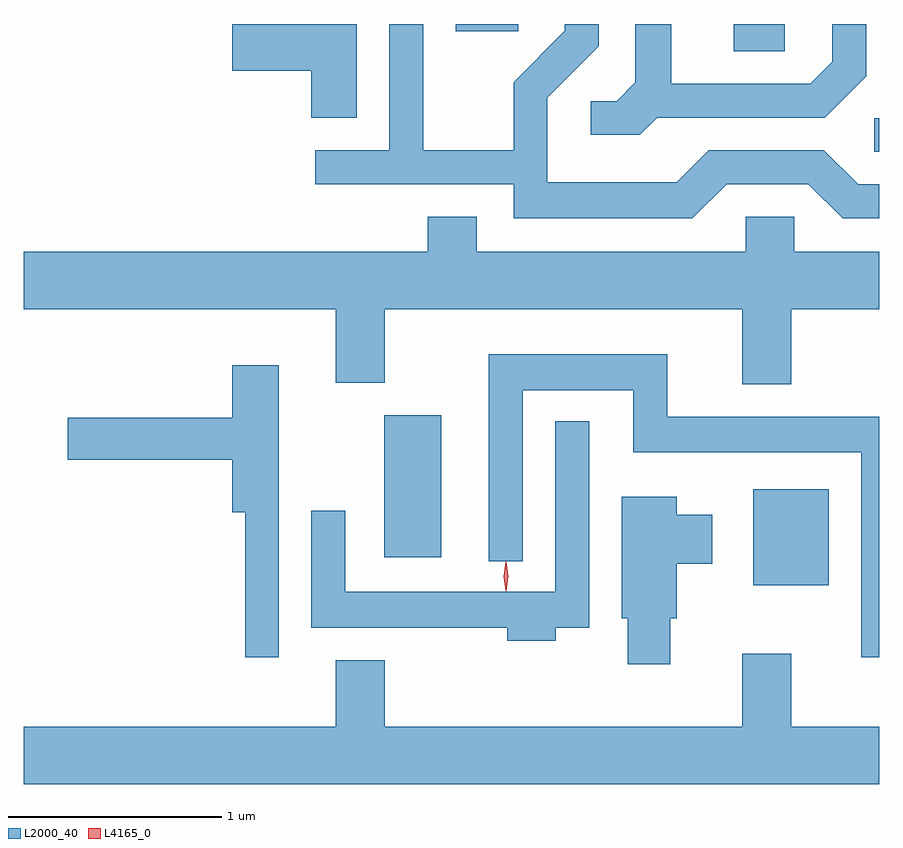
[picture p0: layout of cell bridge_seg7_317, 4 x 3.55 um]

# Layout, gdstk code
import gdstk
lib = gdstk.Library(unit=1e-6, precision=1e-09)
def R(c, l, rs):  # rectangles x0, y0, x1, y1
    for r in rs: c.add(gdstk.rectangle(r[:2], r[2:], *l))
def P(c, l, *ps):  # polygons
    for p in ps: c.add(gdstk.Polygon(p, *l))
L2000_40 = (2000, 40)
L4165_0 = (4165, 0)

bridge_seg7_317 = lib.new_cell('bridge_seg7_317')
R(bridge_seg7_317, L2000_40, [(1197.861,1761.866,1198.214,1762.314), (1196.136,1761.996,1196.404,1762.659), (1198.428,1763.891,1198.451,1764.049), (1197.771,1764.361,1198.009,1764.489), (1196.471,1764.456,1196.764,1764.489)])
P(bridge_seg7_317, L2000_40, [(1197.737,1763.741),(1198.119,1763.741),(1198.279,1763.581),(1198.451,1763.581),(1198.451,1763.739),(1198.352,1763.739),(1198.192,1763.899),(1197.654,1763.899),(1197.504,1763.749),(1196.899,1763.749),(1196.899,1764.144),(1197.139,1764.384),(1197.139,1764.489),(1196.981,1764.489),(1196.981,1764.457),(1196.741,1764.217),(1196.741,1763.899),(1196.319,1763.899),(1196.319,1764.489),(1196.161,1764.489),(1196.161,1763.899),(1195.813,1763.899),(1195.813,1763.741),(1196.741,1763.741),(1196.741,1763.581),(1197.577,1763.581)],
  [(1196.009,1764.489),(1195.426,1764.489),(1195.426,1764.271),(1195.796,1764.271),(1195.796,1764.051),(1196.009,1764.051)],
  [(1197.412,1764.051),(1198.197,1764.051),(1198.389,1764.244),(1198.389,1764.489),(1198.231,1764.489),(1198.231,1764.312),(1198.129,1764.209),(1197.479,1764.209),(1197.479,1764.489),(1197.311,1764.489),(1197.311,1764.217),(1197.224,1764.129),(1197.103,1764.129),(1197.103,1763.971),(1197.332,1763.971)],
  [(1198.039,1763.156),(1198.451,1763.156),(1198.451,1763.424),(1198.054,1763.424),(1198.054,1763.589),(1197.826,1763.589),(1197.826,1763.424),(1196.569,1763.424),(1196.569,1763.589),(1196.341,1763.589),(1196.341,1763.424),(1194.451,1763.424),(1194.451,1763.156),(1195.911,1763.156),(1195.911,1762.811),(1196.139,1762.811),(1196.139,1763.156),(1197.811,1763.156),(1197.811,1762.806),(1198.039,1762.806)],
  [(1198.451,1762.654),(1197.459,1762.654),(1197.459,1762.944),(1196.626,1762.944),(1196.626,1761.978),(1196.784,1761.978),(1196.784,1762.776),(1197.301,1762.776),(1197.301,1762.486),(1198.366,1762.486),(1198.366,1761.528),(1198.451,1761.528)],
  [(1195.644,1762.894),(1195.426,1762.894),(1195.426,1762.649),(1194.656,1762.649),(1194.656,1762.451),(1195.426,1762.451),(1195.426,1762.206),(1195.486,1762.206),(1195.486,1761.528),(1195.644,1761.528)],
  [(1196.939,1761.666),(1197.094,1761.666),(1197.094,1762.633),(1196.936,1762.633),(1196.936,1761.834),(1195.954,1761.834),(1195.954,1762.213),(1195.796,1762.213),(1195.796,1761.666),(1196.711,1761.666),(1196.711,1761.606),(1196.939,1761.606)],
  [(1197.474,1761.711),(1197.504,1761.711),(1197.504,1761.966),(1197.669,1761.966),(1197.669,1762.194),(1197.504,1762.194),(1197.504,1762.279),(1197.246,1762.279),(1197.246,1761.711),(1197.276,1761.711),(1197.276,1761.496),(1197.474,1761.496)],
  [(1198.451,1761.204),(1198.039,1761.204),(1198.039,1761.544),(1197.811,1761.544),(1197.811,1761.204),(1196.139,1761.204),(1196.139,1761.514),(1195.911,1761.514),(1195.911,1761.204),(1194.451,1761.204),(1194.451,1760.936),(1198.451,1760.936)])
P(bridge_seg7_317, L4165_0, [(1196.706,1761.837),(1196.706,1761.838),(1196.696,1761.907),(1196.705,1761.976),(1196.706,1761.976),(1196.706,1761.976),(1196.716,1761.907),(1196.707,1761.838)],
  [(1196.705,1761.839),(1196.704,1761.84),(1196.695,1761.906),(1196.704,1761.972),(1196.705,1761.973),(1196.705,1761.972),(1196.715,1761.906),(1196.705,1761.84)])

lib.write_gds('bridge_seg7_317.gds')
